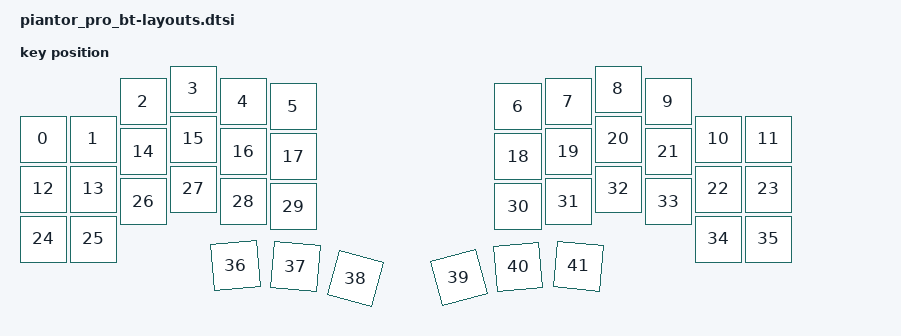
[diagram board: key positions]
#include <physical_layouts.dtsi>

/ {
    piantor_position_map {
        compatible = "zmk,physical-layout-position-map";
        complete;

        default_map: six_col {
            physical-layout = <&default_layout>;
            positions
                = < 0  1  2  3  4  5  6  7  8  9 10 11>
                , <12 13 14 15 16 17 18 19 20 21 22 23>
                , <24 25 26 27 28 29 30 31 32 33 34 35>
                , <         36 37 38 39 40 41         >;
        };
    };
};

/ {
    default_layout: default_layout {
        compatible = "zmk,physical-layout";
        display-name = "Default Layout";
        keys  //                     w   h    x    y     rot    rx    ry
            = <&key_physical_attrs 100 100    0  100       0     0     0>
            , <&key_physical_attrs 100 100  100  100       0     0     0>
            , <&key_physical_attrs 100 100  200   25       0     0     0>
            , <&key_physical_attrs 100 100  300    0       0     0     0>
            , <&key_physical_attrs 100 100  400   25       0     0     0>
            , <&key_physical_attrs 100 100  500   35       0     0     0>
            , <&key_physical_attrs 100 100  950   35       0     0     0>
            , <&key_physical_attrs 100 100 1050   25       0     0     0>
            , <&key_physical_attrs 100 100 1150    0       0     0     0>
            , <&key_physical_attrs 100 100 1250   25       0     0     0>
            , <&key_physical_attrs 100 100 1350  100       0     0     0>
            , <&key_physical_attrs 100 100 1450  100       0     0     0>
            , <&key_physical_attrs 100 100    0  200       0     0     0>
            , <&key_physical_attrs 100 100  100  200       0     0     0>
            , <&key_physical_attrs 100 100  200  125       0     0     0>
            , <&key_physical_attrs 100 100  300  100       0     0     0>
            , <&key_physical_attrs 100 100  400  125       0     0     0>
            , <&key_physical_attrs 100 100  500  135       0     0     0>
            , <&key_physical_attrs 100 100  950  135       0     0     0>
            , <&key_physical_attrs 100 100 1050  125       0     0     0>
            , <&key_physical_attrs 100 100 1150  100       0     0     0>
            , <&key_physical_attrs 100 100 1250  125       0     0     0>
            , <&key_physical_attrs 100 100 1350  200       0     0     0>
            , <&key_physical_attrs 100 100 1450  200       0     0     0>
            , <&key_physical_attrs 100 100    0  300       0     0     0>
            , <&key_physical_attrs 100 100  100  300       0     0     0>
            , <&key_physical_attrs 100 100  200  225       0     0     0>
            , <&key_physical_attrs 100 100  300  200       0     0     0>
            , <&key_physical_attrs 100 100  400  225       0     0     0>
            , <&key_physical_attrs 100 100  500  235       0     0     0>
            , <&key_physical_attrs 100 100  950  235       0     0     0>
            , <&key_physical_attrs 100 100 1050  225       0     0     0>
            , <&key_physical_attrs 100 100 1150  200       0     0     0>
            , <&key_physical_attrs 100 100 1250  225       0     0     0>
            , <&key_physical_attrs 100 100 1350  300       0     0     0>
            , <&key_physical_attrs 100 100 1450  300       0     0     0>
            , <&key_physical_attrs 100 100  380  360  (-500)   360   350>
            , <&key_physical_attrs 100 100  510  350     500   500   350>
            , <&key_physical_attrs 100 100  645  370    1500   650   350>
            , <&key_physical_attrs 100 100  810  389 (-1500)   825   350>
            , <&key_physical_attrs 100 100  945  360  (-500)   950   350>
            , <&key_physical_attrs 100 100 1075  350     500  1075   350>
            ;
    };
};
